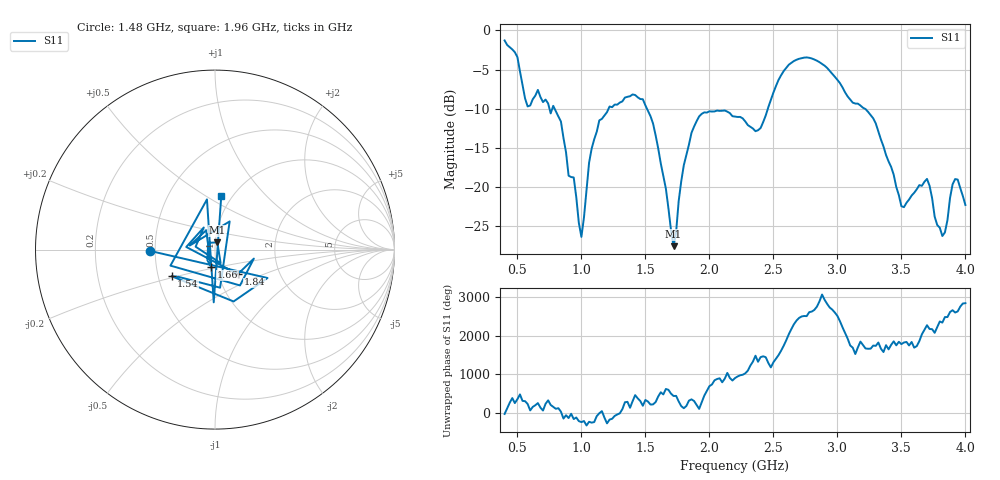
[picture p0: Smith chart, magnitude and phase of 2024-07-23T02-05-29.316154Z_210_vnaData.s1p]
!Created with skrf (http://scikit-rf.org).
# Hz S RI R 50.0
!freq ReS11 ImS11
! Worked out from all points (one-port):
!   181 points, 400 MHz to 4 GHz, reference 50 ohm
!   lowest |S11| = -27.5 dB at 1.72 GHz (marker M1), VSWR 1.09, Z = 51 + j4.14 ohm
!   |S11| at or under -10 dB: 791.4 MHz to 1.212 GHz (420.3 MHz wide, 42 % of centre); 1.513 GHz to 2.456 GHz (943.6 MHz wide, 47.6 % of centre); 3.216 GHz to end of sweep (the widest 3 of 4)
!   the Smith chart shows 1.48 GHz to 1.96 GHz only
!   S11 on the Smith chart (normalised r, x): 1.48 GHz: 0.47, -0.01; 1.54 GHz: 0.59, -0.19; 1.66 GHz: 0.94, -0.18; 1.84 GHz: 1.24, -0.35; 1.96 GHz: 0.89, +0.58
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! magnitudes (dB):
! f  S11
! 400 MHz  -1.3
! 500 MHz  -3.4
! 580 MHz  -9.7
! 660 MHz  -7.6
! 860 MHz  -13.7
! 940 MHz  -18.8
! 1 GHz  -26.3
! 1.06 GHz  -16.9
! 1.14 GHz  -11.5
! 1.3 GHz  -9.2
! 1.48 GHz  -8.8
! 1.54 GHz  -10.9
! 1.66 GHz  -20.2
! 1.72 GHz  -27.5
! 1.76 GHz  -21.8
! 1.84 GHz  -14.6
! 1.96 GHz  -10.4
! 2.2 GHz  -11.0
! 2.4 GHz  -12.4
! 2.66 GHz  -3.9
! 3.1 GHz  -8.8
! 3.28 GHz  -11.2
! 3.5 GHz  -22.4
! 3.56 GHz  -21.6
! 3.7 GHz  -18.9
! 3.82 GHz  -26.2
! 3.92 GHz  -19.0
! 4 GHz  -22.3
